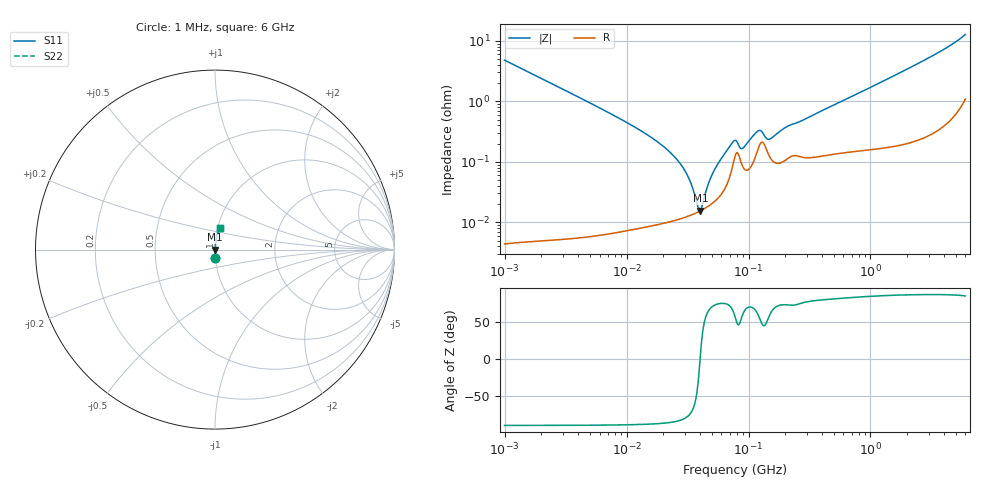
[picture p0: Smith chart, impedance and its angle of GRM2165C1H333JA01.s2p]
!Murata Part Number: GRM2165C1H333JA01
!These Parameters are Measured in Series Mode Connection
!Data Generated on Mar 30, 2021
!  o--ll--o
!Port1  Port2
!  o------o
!Operation Temp=25[degC], DC Bias Voltage=0[V]
!Freq. Start=1000[kHz] Stop=6[GHz] 401[Steps]
# Hz S RI R 50
!Freq.(Hz) S11(Real) S11(Imag) S21(Real) S21(Imag) S12(Real) S12(Imag) S22(Real) S22(Imag)
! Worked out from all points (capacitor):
!   401 points, 1 MHz to 6 GHz, reference 50 ohm
!   read as one part in series: C = 33.2 nF near 1.044 MHz
!   lowest |Z| = 15.6 mohm at 40.34 MHz (marker M1)
!   series resonance near 40.08 MHz, so ESL is about 480 pH
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1000000  0.00234 -0.0478  0.9977 0.0478  0.9977 0.0478  0.00234 -0.0478
4293785  0.000178 -0.011  0.9998 0.011  0.9998 0.011  0.000178 -0.011
1.0704e7  9.16e-05 -0.00415  0.9999 0.00415  0.9999 0.00415  9.16e-05 -0.00415
1.843659e7  9.68e-05 -0.00205  0.9999 0.00205  0.9999 0.00205  9.68e-05 -0.00205
2.393455e7  0.000107 -0.00129  0.9999 0.00129  0.9999 0.00129  0.000107 -0.00129
2.910942e7  0.000119 -0.000786  0.9999 0.000786  0.9999 0.000786  0.000119 -0.000786
3.389622e7  0.000132 -0.000409  0.9999 0.000409  0.9999 0.000409  0.000132 -0.000409
3.8621e7  0.000148 -9.08e-05  0.9999 9.08e-05  0.9999 9.08e-05  0.000148 -9.08e-05
4.033799e7  0.000155 1.61e-05  0.9998 -1.61e-05  0.9998 -1.61e-05  0.000155 1.61e-05
4.213132e7  0.000162 0.000124  0.9998 -0.000124  0.9998 -0.000124  0.000162 0.000124
4.697123e7  0.000186 0.0004  0.9998 -0.0004  0.9998 -0.0004  0.000186 0.0004
5.236714e7  0.00022 0.000693  0.9998 -0.000693  0.9998 -0.000693  0.00022 0.000693
7.100585e7  0.000619 0.00176  0.9994 -0.00176  0.9994 -0.00176  0.000619 0.00176
7.745967e7  0.00124 0.0019  0.9988 -0.0019  0.9988 -0.0019  0.00124 0.0019
9.019724e7  0.000817 0.00148  0.9992 -0.00148  0.9992 -0.00148  0.000817 0.00148
1.223006e8  0.00184 0.00274  0.9982 -0.00274  0.9982 -0.00274  0.00184 0.00274
1.487431e8  0.00122 0.00202  0.9988 -0.00202  0.9988 -0.00202  0.00122 0.00202
2.061188e8  0.00112 0.00364  0.9989 -0.00364  0.9989 -0.00364  0.00112 0.00364
3.325952e8  0.00121 0.00571  0.9988 -0.00571  0.9988 -0.00571  0.00121 0.00571
1.428092e9  0.00232 0.0241  0.9977 -0.0241  0.9977 -0.0241  0.00232 0.0241
3.5601e9  0.00722 0.0625  0.9928 -0.0625  0.9928 -0.0625  0.00722 0.0625
6e9  0.0262 0.1223  0.9738 -0.1223  0.9738 -0.1223  0.0262 0.1223
